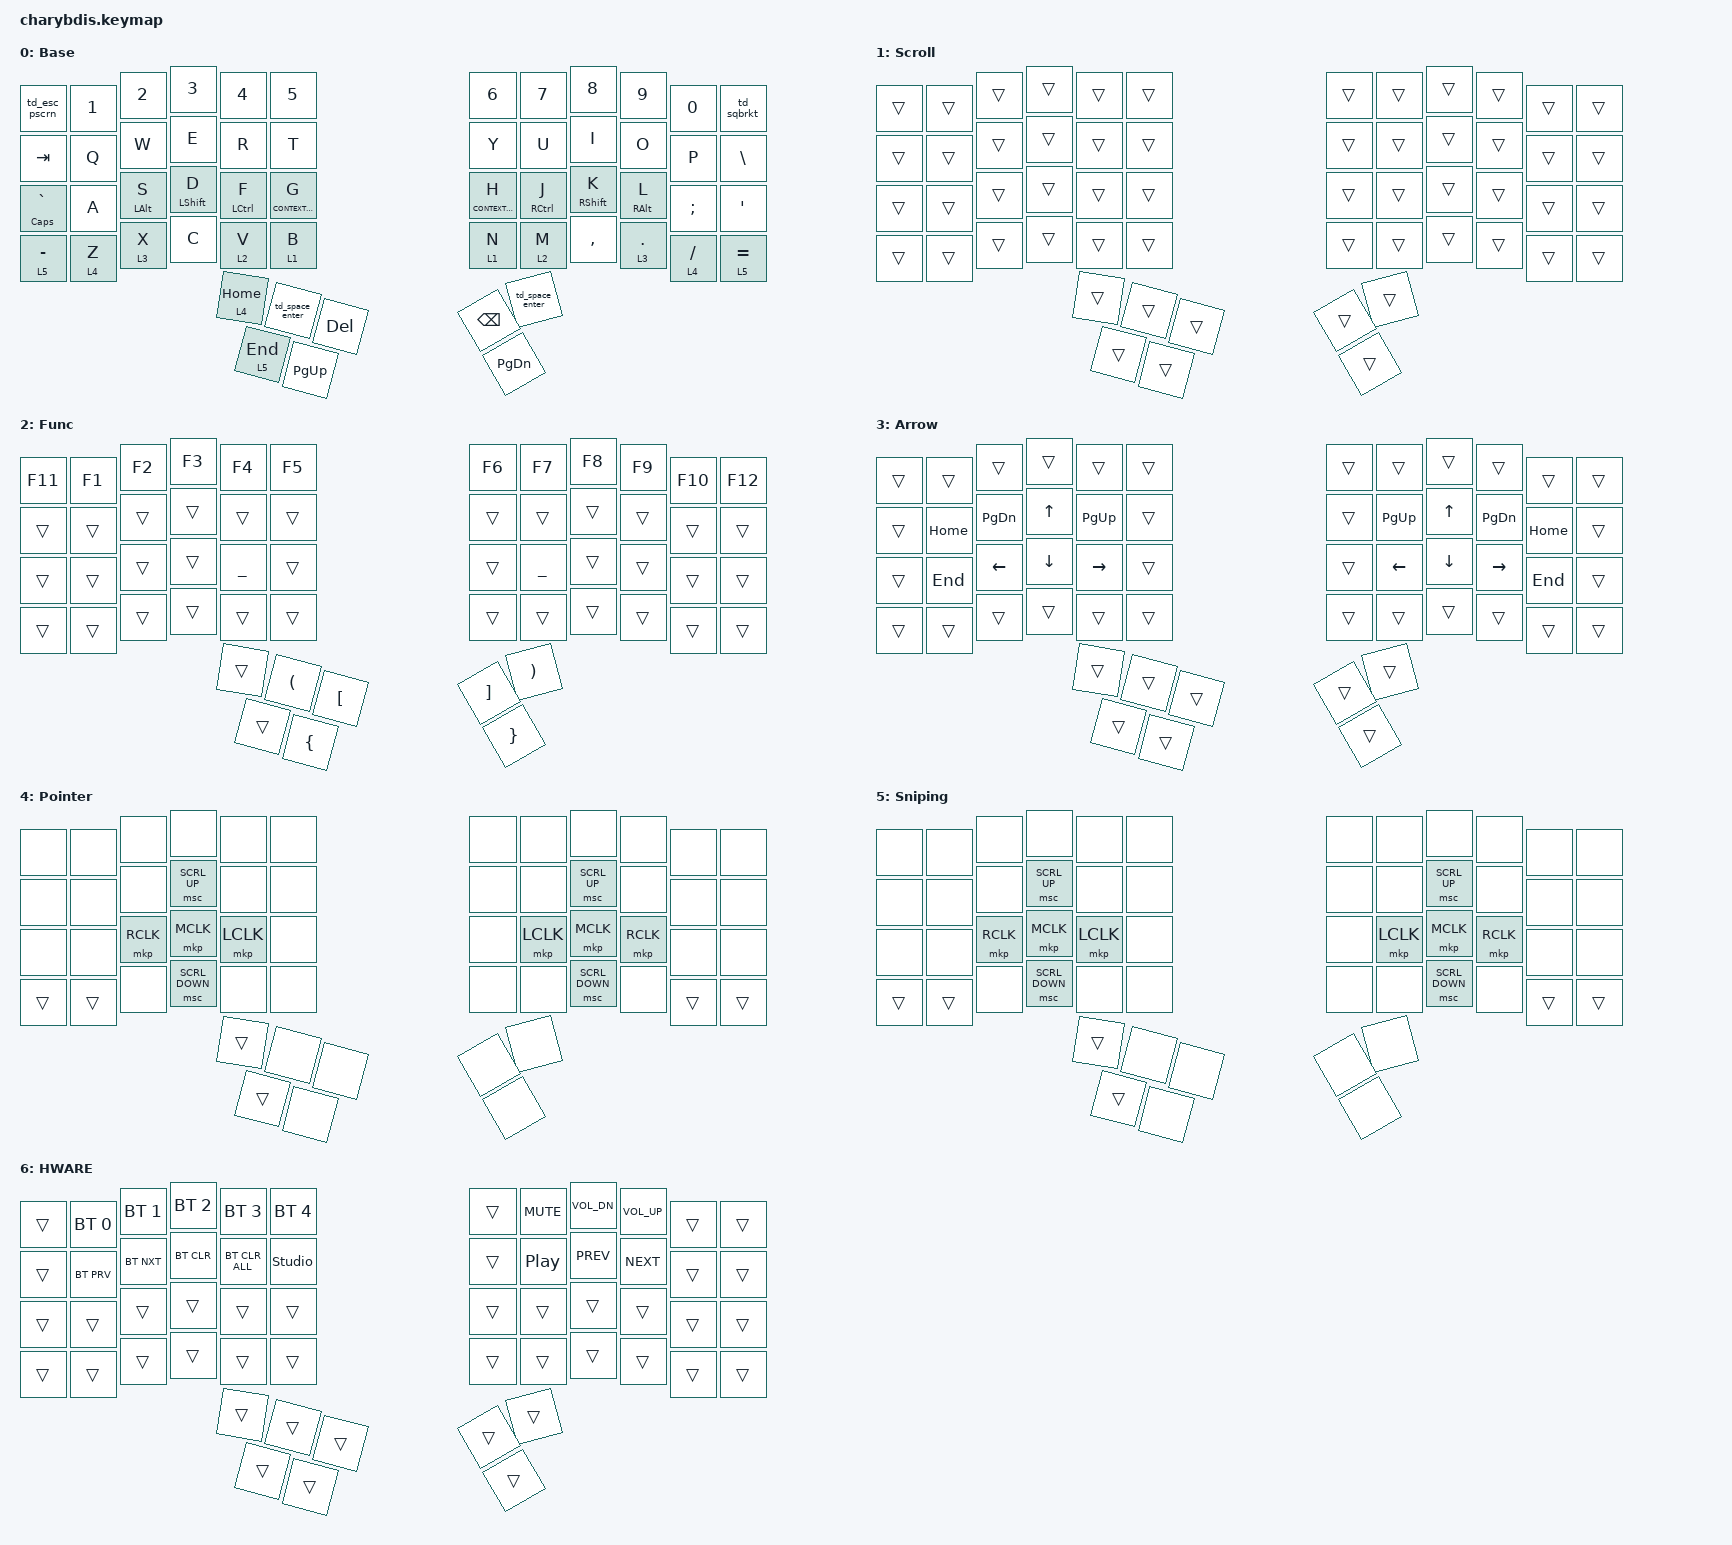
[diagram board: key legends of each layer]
#include <dt-bindings/zmk/mouse.h>
#include <behaviors/mouse_keys.dtsi>
#include <behaviors.dtsi>
#include <dt-bindings/zmk/bt.h>
#include <dt-bindings/zmk/keys.h>
#include <dt-bindings/zmk/pointing.h>

/ {
    chosen { zmk,physical-layout = &charybdis_6col_layout; };
};

&lt { flavor = "tap-preferred"; };

&sk { release-after-ms = <3000>; };

// Layer definitions

#define BASE 0
#define SCROLL 1
#define FUNC 2
#define ARROW 3
#define POINTER 4
#define SNIPING 5
#define HARDWARE 6

/ {
    behaviors {
        // Hold-tap behavior for layer with tap-preferred
        // Tap-dance for GUI/Ctrl+B
        // Home row mods - Left hand

        hml: home_row_mod_left {
            compatible = "zmk,behavior-hold-tap";
            #binding-cells = <2>;
            flavor = "balanced";
            require-prior-idle-ms = <100>;
            tapping-term-ms = <200>;
            quick-tap-ms = <150>;
            bindings = <&kp>, <&kp>;

            hold-trigger-key-positions = <6 7 8 9 10 11 18 19 20 21 22 23 30 31 32 33 34 35 42 43 44 45 46 47 53 54 55>; // Right side keys
            hold-trigger-on-release;
        };

        // Home row mods - Right hand

        hmr: home_row_mod_right {
            compatible = "zmk,behavior-hold-tap";
            #binding-cells = <2>;
            flavor = "balanced";
            require-prior-idle-ms = <100>;
            tapping-term-ms = <200>;
            quick-tap-ms = <150>;
            bindings = <&kp>, <&kp>;

            hold-trigger-key-positions = <0 1 2 3 4 5 12 13 14 15 16 17 24 25 26 27 28 29 36 37 38 39 40 41 48 49 50 51 52>; // Left side keys
            hold-trigger-on-release;
        };

        td_sqbrkt: td_sqbrkt {
            compatible = "zmk,behavior-tap-dance";
            label = "tap dance open and close bracket";
            #binding-cells = <0>;
            bindings = <&kp LEFT_BRACKET>, <&kp RIGHT_BRACKET>;
        };

        td_esc_pscrn: td_esc_pscrn {
            compatible = "zmk,behavior-tap-dance";
            label = "Tap dance esc & print screen";
            #binding-cells = <0>;
            bindings = <&kp ESCAPE>, <&kp PRINTSCREEN>;
        };

        td_space_enter: td_space_enter {
            compatible = "zmk,behavior-tap-dance";
            label = "Tap dance space enter";
            #binding-cells = <0>;
            bindings = <&kp SPACE>, <&kp ENTER>;
        };

        hmls: home_row_mod_left_shift {
            compatible = "zmk,behavior-hold-tap";
            #binding-cells = <2>;
            flavor = "balanced";
            tapping-term-ms = <200>;
            bindings = <&kp>, <&kp>;

            hold-trigger-key-positions = <6 7 8 9 10 11 18 19 20 21 22 23 30 31 32 33 34 35 42 43 44 45 46 47 53 54 55>;
            hold-trigger-on-release;
        };

        hmrs: home_row_mod_right_shift {
            compatible = "zmk,behavior-hold-tap";
            #binding-cells = <2>;
            flavor = "balanced";
            tapping-term-ms = <200>;
            bindings = <&kp>, <&kp>;

            hold-trigger-key-positions = <0 1 2 3 4 5 12 13 14 15 16 17 24 25 26 27 28 29 36 37 38 39 40 41 48 49 50 51 52>;
            hold-trigger-on-release;
        };
    };

    macros {
        // Ctrl+Alt+Cmd macro
        // Ctrl+Shift+Alt macro
        // Ctrl+Alt macro
        // Shift+Middle Click macro
    };

    combos {
        compatible = "zmk,combos";
        timeout-ms = <20>;
        require-prior-idle-ms = <250>;

        // Studio Unlock Combo - all three right thumb keys

        toggle_hardware {
            bindings = <&tog 6>;
            key-positions = <48 55>;
        };

        win_combo {
            bindings = <&sk LGUI>;
            key-positions = <25 34>;
            timeout-ms = <50>;
        };
    };

    keymap {
        compatible = "zmk,keymap";

        // ╭─────────────┬─────────────┬─────────────┬─────────────┬─────────────┬─────────────╮   ╭─────────────┬─────────────┬─────────────┬─────────────┬─────────────┬─────────────╮
        //    0             1             2             3             4             5                 6             7             8             9            10            11
        // ├─────────────┼─────────────┼─────────────┼─────────────┼─────────────┼─────────────┤   ├─────────────┼─────────────┼─────────────┼─────────────┼─────────────┼─────────────┤
        //   12            13            14            15            16            17                18            19            20            21            22            23
        // ├─────────────┼─────────────┼─────────────┼─────────────┼─────────────┼─────────────┤   ├─────────────┼─────────────┼─────────────┼─────────────┼─────────────┼─────────────┤
        //   24            25            26            27            28            29                30            31            32            33            34            35
        // ├─────────────┼─────────────┼─────────────┼─────────────┼─────────────┼─────────────┤   ├─────────────┼─────────────┼─────────────┼─────────────┼─────────────┼─────────────┤
        //   36            37            38            39            40            41                42            43            44            45            46            47
        // ╰─────────────┴─────────────┴─────────────┴─────────────┴─────────────┴─────────────╯   ╰─────────────┴─────────────┴─────────────┴─────────────┴─────────────┴─────────────╯
        //               ╭─────────────┬─────────────┬─────────────┬─────────────┬─────────────╮   ╭─────────────┬─────────────┬─────────────╮
        //                  48            49            50            51            52                53            54            55
        //               ╰─────────────┴─────────────┴─────────────┴─────────────┴─────────────╯   ╰─────────────┴─────────────┴─────────────╯
        //                                                                         Actual Key Positions
        //                                          ╭─────────────┬─────────────┬─────────────╮    ╭─────────────┬─────────────╮
        //                                             50           51            48                 55            54
        //                                          ╰─────────────┼─────────────┼─────────────┤    ├─────────────┼─────────────╯
        //                                                          52            49                 53
        //                                                        ╰─────────────┴─────────────╯    ╰─────────────╯

        base_layer {
            label = "BASE";
            display-name = "Base";
            bindings = <
&td_esc_pscrn   &kp N1      &kp N2           &kp N3              &kp N4           &kp N5                 &kp N6                                &kp N7           &kp N8               &kp N9            &kp N0         &td_sqbrkt
&kp TAB         &kp Q       &kp W            &kp E               &kp R            &kp T                                 &kp Y                  &kp U            &kp I                &kp O             &kp P          &kp BSLH
&mt CAPS GRAVE  &kp A       &hml LEFT_ALT S  &hmls LEFT_SHIFT D  &hml LCTRL F     &hml K_CONTEXT_MENU G                 &hmr K_CONTEXT_MENU H  &hmr RCTRL J     &hmrs RIGHT_SHIFT K  &hmr RIGHT_ALT L  &kp SEMICOLON  &kp SQT
&lt 5 MINUS     &lt 4 Z     &lt 3 X          &kp C               &lt 2 V          &lt 1 B                               &lt 1 N                &lt 2 M          &kp COMMA            &lt 3 DOT         &lt 4 FSLH     &lt 5 EQUAL
                &kp DELETE  &kp PAGE_UP      &lt 4 HOME          &td_space_enter  &lt 5 END              &kp PAGE_DOWN                         &td_space_enter                       &kp BACKSPACE
            >;
        };

        scroll_layer {
            label = "SCROLL";
            display-name = "Scroll";
            bindings = <
&trans  &trans  &trans  &trans  &trans  &trans  &trans          &trans  &trans  &trans  &trans  &trans
&trans  &trans  &trans  &trans  &trans  &trans          &trans  &trans  &trans  &trans  &trans  &trans
&trans  &trans  &trans  &trans  &trans  &trans          &trans  &trans  &trans  &trans  &trans  &trans
&trans  &trans  &trans  &trans  &trans  &trans          &trans  &trans  &trans  &trans  &trans  &trans
        &trans  &trans  &trans  &trans  &trans  &trans          &trans          &trans
            >;
        };

        func_layer {
            label = "FUNC";
            display-name = "Func";
            bindings = <
&kp F11  &kp F1            &kp F2          &kp F3  &kp F4                &kp F5  &kp F6                   &kp F7                 &kp F8  &kp F9             &kp F10  &kp F12
&trans   &trans            &trans          &trans  &trans                &trans                   &trans  &trans                 &trans  &trans             &trans   &trans
&trans   &trans            &trans          &trans  &kp UNDERSCORE        &trans                   &trans  &kp UNDERSCORE         &trans  &trans             &trans   &trans
&trans   &trans            &trans          &trans  &trans                &trans                   &trans  &trans                 &trans  &trans             &trans   &trans
         &kp LEFT_BRACKET  &kp LEFT_BRACE  &trans  &kp LEFT_PARENTHESIS  &trans  &kp RIGHT_BRACE          &kp RIGHT_PARENTHESIS          &kp RIGHT_BRACKET
            >;
        };

        arrow_layer {
            label = "ARROW";
            display-name = "Arrow";
            bindings = <
&trans  &trans    &trans         &trans          &trans       &trans  &trans          &trans          &trans          &trans           &trans    &trans
&trans  &kp HOME  &kp PAGE_DOWN  &kp UP_ARROW    &kp PAGE_UP  &trans          &trans  &kp PAGE_UP     &kp UP_ARROW    &kp PAGE_DOWN    &kp HOME  &trans
&trans  &kp END   &kp LEFT       &kp DOWN_ARROW  &kp RIGHT    &trans          &trans  &kp LEFT_ARROW  &kp DOWN_ARROW  &kp RIGHT_ARROW  &kp END   &trans
&trans  &trans    &trans         &trans          &trans       &trans          &trans  &trans          &trans          &trans           &trans    &trans
        &trans    &trans         &trans          &trans       &trans  &trans          &trans                          &trans
            >;
        };

        pointer_layer {
            label = "POINTER";
            display-name = "Pointer";
            bindings = <
&none   &none   &none      &none           &none      &none   &none         &none      &none           &none      &none   &none
&none   &none   &none      &msc SCRL_UP    &none      &none          &none  &none      &msc SCRL_UP    &none      &none   &none
&none   &none   &mkp RCLK  &mkp MCLK       &mkp LCLK  &none          &none  &mkp LCLK  &mkp MCLK       &mkp RCLK  &none   &none
&trans  &trans  &none      &msc SCRL_DOWN  &none      &none          &none  &none      &msc SCRL_DOWN  &none      &trans  &trans
        &none   &none      &trans          &none      &trans  &none         &none                      &none
            >;
        };

        sniping_layer {
            label = "SNIPING";
            display-name = "Sniping";
            bindings = <
&none   &none   &none      &none           &none      &none   &none         &none      &none           &none      &none   &none
&none   &none   &none      &msc SCRL_UP    &none      &none          &none  &none      &msc SCRL_UP    &none      &none   &none
&none   &none   &mkp RCLK  &mkp MCLK       &mkp LCLK  &none          &none  &mkp LCLK  &mkp MCLK       &mkp RCLK  &none   &none
&trans  &trans  &none      &msc SCRL_DOWN  &none      &none          &none  &none      &msc SCRL_DOWN  &none      &trans  &trans
        &none   &none      &trans          &none      &trans  &none         &none                      &none
            >;
        };

        hardware_layer {
            label = "HARDWARE";
            display-name = "HWARE";
            bindings = <
&trans  &bt BT_SEL 0  &bt BT_SEL 1  &bt BT_SEL 2  &bt BT_SEL 3    &bt BT_SEL 4    &trans          &kp K_MUTE        &kp C_VOL_DN  &kp C_VOL_UP  &trans  &trans
&trans  &bt BT_PRV    &bt BT_NXT    &bt BT_CLR    &bt BT_CLR_ALL  &studio_unlock          &trans  &kp C_PLAY_PAUSE  &kp C_PREV    &kp C_NEXT    &trans  &trans
&trans  &trans        &trans        &trans        &trans          &trans                  &trans  &trans            &trans        &trans        &trans  &trans
&trans  &trans        &trans        &trans        &trans          &trans                  &trans  &trans            &trans        &trans        &trans  &trans
        &trans        &trans        &trans        &trans          &trans          &trans          &trans                          &trans
            >;
        };
    };
};
